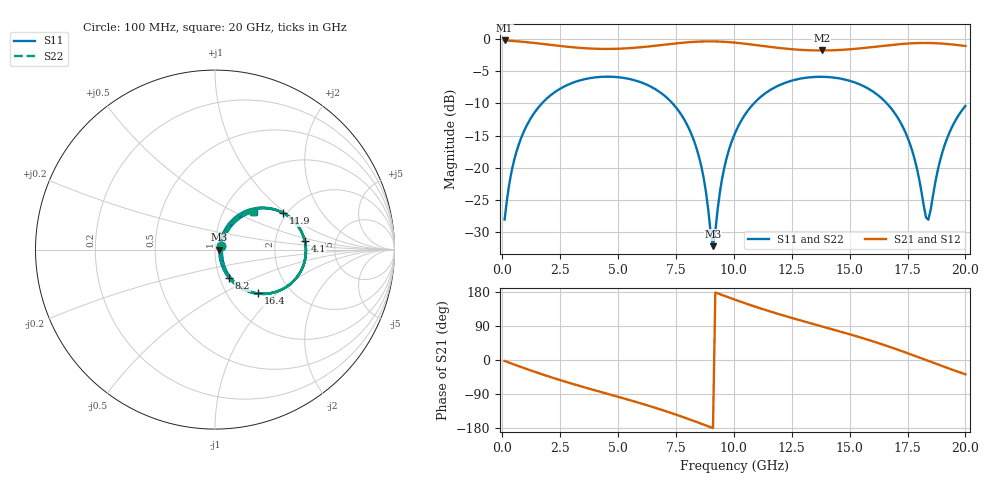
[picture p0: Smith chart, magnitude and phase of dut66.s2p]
! Touchstone file exported from HFSS 2026.1.0
!  File:  C:/ffzhzh/LocalFiles/Ansys_Project_Files/temp_train_TSV_RDL_66_1782969258_45568.aedt
!  Generated:  01:29:50 PM Jul  2, 2026
!  Design:  TSV_RDL
!  Project:  temp_train_TSV_RDL_66_1782969258_45568
! Variables:
!  h_bsmrdl = 2.88um
!  h_ox = 20um
!  h_rdl = 5um
!  h_sub = 99.17um
!  h_tmrdl = 2.43um
!  h_tsv = 99.17um
!  h_via = 3um
!  l_bsmrdl = 979.03um
!  l_sub = 6413.23um
!  l_tmrdl = 732.12um
!  m_sub = 200um
!  pitch = 52.99um
!  r_tsv = 13.36um
!  s_tmrdl = 10um
!  w_bsmrdl = 20.76um
!  w_sub = 500um
!  w_tmrdl = 28.46um
!  x_tsv_center1 = 746.35um
!  x_tsv_center2 = 1746.14um
!  x_tsv_center3 = 2506.72um
!  x_tsv_center4 = 3506.51um
!  x_tsv_center5 = 4267.09um
!  x_tsv_center6 = 5266.88um
# GHz S MA R 50.000000
! Terminal data exported
! Port[1] = TM_RDL1_1_T1
! Port[2] = TM_RDL5_1_T1
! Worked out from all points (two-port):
!   200 points, 100 MHz to 20 GHz, reference 50 ohm
!   highest |S21| = -0.29 dB at 100 MHz (marker M1); lowest = -1.8 dB at 13.8 GHz (marker M2)
!   |S21| within 3 dB of the highest: start of sweep to end of sweep
!   lowest |S11| = -32.1 dB at 9.1 GHz (marker M3), VSWR 1.05, Z = 52.5 + j0.00182 ohm
!   |S11| at or under -10 dB: start of sweep to 1.72 GHz; 7.343 GHz to 10.87 GHz (3.531 GHz wide, 38.8 % of centre); 16.6 GHz to end of sweep
!   |S22| runs from -32.0 to -5.9 dB; largest |S21 - S12| = 1.6e-14
!   S11 on the Smith chart (normalised r, x): 100 MHz: 1.07, +0.05; 4.1 GHz: 2.96, +0.40; 8.2 GHz: 1.11, -0.36; 11.9 GHz: 1.90, +0.96; 16.4 GHz: 1.39, -0.77; 20 GHz: 1.37, +0.64
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0.1  0.03976 32.5  0.9671 -2.4  0.9671 -2.4  0.03976 32.5
! Gamma 0 0 0 0
! Port Impedance 50 0 50 0
0.5  0.1125 58.9  0.9569 -11.6  0.9569 -11.6  0.1125 58.9
1.1  0.22 54.9  0.9365 -24.8  0.9365 -24.8  0.22 54.9
2.1  0.3658 38.9  0.8935 -45.4  0.8935 -45.4  0.3658 38.9
3.5  0.4825 15.4  0.8433 -71.3  0.8433 -71.3  0.4825 15.4
4.1  0.5028 5.7  0.8333 -81.7  0.8333 -81.7  0.5028 5.7
5.4  0.4905 -15.4  0.8411 -104.0  0.8411 -104.0  0.4905 -15.4
6.8  0.3856 -39.5  0.8882 -129.9  0.8882 -129.9  0.3856 -39.5
8.2  0.1763 -63.7  0.9415 -159.2  0.9415 -159.2  0.1763 -63.6
8.7  0.08278 -65.3  0.9505 -170.5  0.9505 -170.5  0.08285 -65.1
9.1  0.02476 0.0  0.9513 -179.6  0.9513 -179.6  0.02498 0.0
9.5  0.08379 62.5  0.9461 171.4  0.9461 171.4  0.08386 62.3
10.1  0.194 59.4  0.9284 158.0  0.9284 158.0  0.194 59.3
11.9  0.4307 28.5  0.8484 121.8  0.8484 121.8  0.4307 28.4
13.4  0.5035 3.9  0.8105 95.5  0.8105 95.5  0.5036 3.9
13.8  0.506 -2.5  0.8089 88.7  0.8089 88.7  0.506 -2.5
16.4  0.343 -45.3  0.8769 41.5  0.8769 41.5  0.3431 -45.4
16.7  0.3021 -50.3  0.889 35.3  0.889 35.3  0.3021 -50.4
17.6  0.1542 -61.8  0.918 15.8  0.918 15.8  0.1541 -62.0
18.4  0.03967 5.9  0.9247 -2.3  0.9247 -2.3  0.03907 6.0
19.1  0.1492 55.6  0.9119 -18.2  0.9119 -18.2  0.1489 55.8
20  0.301 44.5  0.8761 -37.8  0.8761 -37.8  0.3008 44.6
